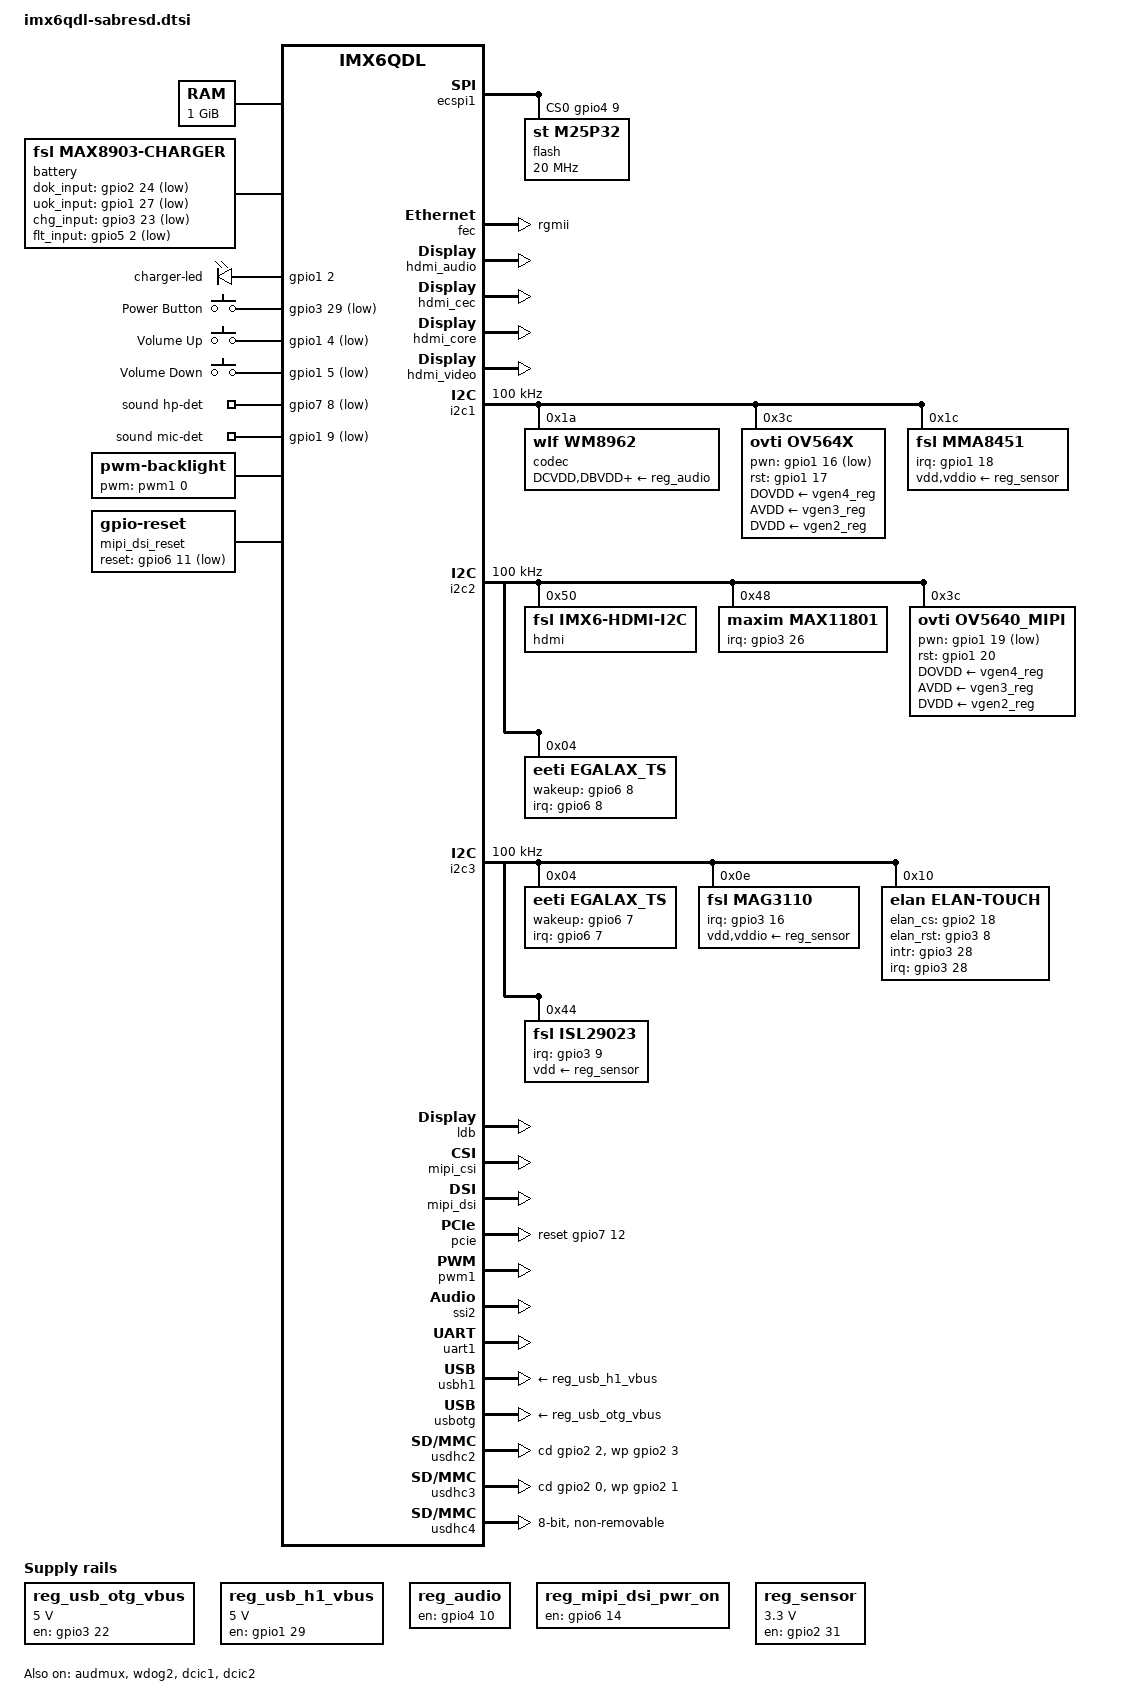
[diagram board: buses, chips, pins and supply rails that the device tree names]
/*
 * Copyright 2012 Freescale Semiconductor, Inc.
 * Copyright 2011 Linaro Ltd.
 *
 * The code contained herein is licensed under the GNU General Public
 * License. You may obtain a copy of the GNU General Public License
 * Version 2 or later at the following locations:
 *
 * http://www.opensource.org/licenses/gpl-license.html
 * http://www.gnu.org/copyleft/gpl.html
 */

/ {
	aliases {
		mxcfb0 = &mxcfb1;
		mxcfb1 = &mxcfb2;
		mxcfb2 = &mxcfb3;
		mxcfb3 = &mxcfb4;
	};

	memory {
		reg = <0x10000000 0x40000000>;
	};

	battery: max8903@0 {
		compatible = "fsl,max8903-charger";
		pinctrl-names = "default";
		dok_input = <&gpio2 24 1>;
		uok_input = <&gpio1 27 1>;
		chg_input = <&gpio3 23 1>;
		flt_input = <&gpio5 2 1>;
		fsl,dcm_always_high;
		fsl,dc_valid;
		fsl,usb_valid;
		status = "okay";
	};

	hannstar_cabc {
		compatible = "hannstar,cabc";

		lvds0 {
			gpios = <&gpio6 15 GPIO_ACTIVE_HIGH>;
		};

		lvds1 {
			gpios = <&gpio6 16 GPIO_ACTIVE_HIGH>;
		};
	};

	leds {
		compatible = "gpio-leds";

		charger-led {
			gpios = <&gpio1 2 0>;
			linux,default-trigger = "max8903-charger-charging";
			retain-state-suspended;
		};
	};

	regulators {
		compatible = "simple-bus";

		reg_usb_otg_vbus: usb_otg_vbus {
			compatible = "regulator-fixed";
			regulator-name = "usb_otg_vbus";
			regulator-min-microvolt = <5000000>;
			regulator-max-microvolt = <5000000>;
			gpio = <&gpio3 22 0>;
			enable-active-high;
		};

		reg_usb_h1_vbus: usb_h1_vbus {
			compatible = "regulator-fixed";
			regulator-name = "usb_h1_vbus";
			regulator-min-microvolt = <5000000>;
			regulator-max-microvolt = <5000000>;
			gpio = <&gpio1 29 0>;
			enable-active-high;
		};

		reg_audio: wm8962_supply {
			compatible = "regulator-fixed";
			regulator-name = "wm8962-supply";
			gpio = <&gpio4 10 0>;
			enable-active-high;
		};

		reg_mipi_dsi_pwr_on: mipi_dsi_pwr_on {
			compatible = "regulator-fixed";
			regulator-name = "mipi_dsi_pwr_on";
			gpio = <&gpio6 14 0>;
			enable-active-high;
		};

		reg_sensor: sensor_supply {
			compatible = "regulator-fixed";
			regulator-name = "sensor-supply";
			regulator-min-microvolt = <3300000>;
			regulator-max-microvolt = <3300000>;
			gpio = <&gpio2 31 0>;
			startup-delay-us = <500>;
			enable-active-high;
		};
	};

	gpio-keys {
		compatible = "gpio-keys";
		power {
			label = "Power Button";
			gpios = <&gpio3 29 1>;
			linux,code = <116>; /* KEY_POWER */
			gpio-key,wakeup;
		};

		volume-up {
			label = "Volume Up";
			gpios = <&gpio1 4 1>;
			linux,code = <115>; /* KEY_VOLUMEUP */
		};

		volume-down {
			label = "Volume Down";
			gpios = <&gpio1 5 1>;
			linux,code = <114>; /* KEY_VOLUMEDOWN */
		};
	};

	sound {
		compatible = "fsl,imx6q-sabresd-wm8962",
			   "fsl,imx-audio-wm8962";
		model = "wm8962-audio";
		cpu-dai = <&ssi2>;
		audio-codec = <&codec>;
		audio-routing =
			"Headphone Jack", "HPOUTL",
			"Headphone Jack", "HPOUTR",
			"Ext Spk", "SPKOUTL",
			"Ext Spk", "SPKOUTR",
			"MICBIAS", "AMIC",
			"IN3R", "MICBIAS",
			"DMIC", "MICBIAS",
			"DMICDAT", "DMIC";
		mux-int-port = <2>;
		mux-ext-port = <3>;
		hp-det-gpios = <&gpio7 8 1>;
		mic-det-gpios = <&gpio1 9 1>;
	};

	sound-hdmi {
		compatible = "fsl,imx6q-audio-hdmi",
			     "fsl,imx-audio-hdmi";
		model = "imx-audio-hdmi";
		hdmi-controller = <&hdmi_audio>;
	};

	mxcfb1: fb@0 {
		compatible = "fsl,mxc_sdc_fb";
		disp_dev = "ldb";
		interface_pix_fmt = "RGB666";
		default_bpp = <16>;
		int_clk = <0>;
		late_init = <0>;
		status = "disabled";
	};

	mxcfb2: fb@1 {
		compatible = "fsl,mxc_sdc_fb";
		disp_dev = "hdmi";
		interface_pix_fmt = "RGB24";
		mode_str ="1920x1080M@60";
		default_bpp = <24>;
		int_clk = <0>;
		late_init = <0>;
		status = "disabled";
	};

	mxcfb3: fb@2 {
		compatible = "fsl,mxc_sdc_fb";
		disp_dev = "lcd";
		interface_pix_fmt = "RGB565";
		mode_str ="CLAA-WVGA";
		default_bpp = <16>;
		int_clk = <0>;
		late_init = <0>;
		status = "disabled";
	};

	mxcfb4: fb@3 {
		compatible = "fsl,mxc_sdc_fb";
		disp_dev = "ldb";
		interface_pix_fmt = "RGB666";
		default_bpp = <16>;
		int_clk = <0>;
		late_init = <0>;
		status = "disabled";
	};

	lcd@0 {
		compatible = "fsl,lcd";
		ipu_id = <0>;
		disp_id = <0>;
		default_ifmt = "RGB565";
		pinctrl-names = "default";
		pinctrl-0 = <&pinctrl_ipu1_1>;
		status = "okay";
	};

	backlight {
		compatible = "pwm-backlight";
		pwms = <&pwm1 0 5000000>;
		brightness-levels = <0 4 8 16 32 64 128 255>;
		default-brightness-level = <7>;
	};

	v4l2_cap_0 {
		compatible = "fsl,imx6q-v4l2-capture";
		ipu_id = <0>;
		csi_id = <0>;
		mclk_source = <0>;
		status = "okay";
	};

	v4l2_cap_1 {
		compatible = "fsl,imx6q-v4l2-capture";
		ipu_id = <0>;
		csi_id = <1>;
		mclk_source = <0>;
		status = "okay";
	};

	v4l2_out {
		compatible = "fsl,mxc_v4l2_output";
		status = "okay";
	};

	mipi_dsi_reset: mipi-dsi-reset {
		compatible = "gpio-reset";
		reset-gpios = <&gpio6 11 GPIO_ACTIVE_LOW>;
		reset-delay-us = <50>;
		#reset-cells = <0>;
	};
};

&audmux {
	pinctrl-names = "default";
	pinctrl-0 = <&pinctrl_audmux_2>;
	status = "okay";
};

&cpu0 {
	arm-supply = <&sw1a_reg>;
	soc-supply = <&sw1c_reg>;
	pu-supply = <&pu_dummy>; /* use pu_dummy if VDDSOC share with VDDPU */
};

&ecspi1 {
	fsl,spi-num-chipselects = <1>;
	cs-gpios = <&gpio4 9 0>;
	pinctrl-names = "default";
	pinctrl-0 = <&pinctrl_ecspi1_2>;
	status = "okay";

	flash: m25p80@0 {
		#address-cells = <1>;
		#size-cells = <1>;
		compatible = "st,m25p32";
		spi-max-frequency = <20000000>;
		reg = <0>;
	};
};

&fec {
	pinctrl-names = "default";
	pinctrl-0 = <&pinctrl_enet_1>;
	phy-mode = "rgmii";
	status = "okay";
};

&gpc {
	fsl,cpu_pupscr_sw2iso = <0xf>;
	fsl,cpu_pupscr_sw = <0xf>;
	fsl,cpu_pdnscr_iso2sw = <0x1>;
	fsl,cpu_pdnscr_iso = <0x1>;
	fsl,ldo-bypass = <1>; /* use ldo-bypass, u-boot will check it and configure */
	fsl,wdog-reset = <2>; /* watchdog select of reset source */
	pu-supply = <&pu_dummy>; /* ldo-bypass:use pu_dummy if VDDSOC share with VDDPU */
};

&wdog1 {
	status = "disabled";
};

&wdog2 {
	status = "okay";
};

&gpu {
	pu-supply = <&pu_dummy>; /* ldo-bypass:use pu_dummy if VDDSOC share with VDDPU */
};

&hdmi_audio {
	status = "okay";
};

&hdmi_cec {
	pinctrl-names = "default";
	pinctrl-0 = <&pinctrl_hdmi_cec_2>;
	status = "okay";
};

&hdmi_core {
	ipu_id = <0>;
	disp_id = <0>;
	status = "okay";
};

&hdmi_video {
	fsl,phy_reg_vlev = <0x0294>;
	fsl,phy_reg_cksymtx = <0x800d>;
	status = "okay";
};

&i2c1 {
	clock-frequency = <100000>;
	pinctrl-names = "default";
	pinctrl-0 = <&pinctrl_i2c1_2>;
	status = "okay";

	codec: wm8962@1a {
		compatible = "wlf,wm8962";
		reg = <0x1a>;
		clocks = <&clks 201>;
		DCVDD-supply = <&reg_audio>;
		DBVDD-supply = <&reg_audio>;
		AVDD-supply = <&reg_audio>;
		CPVDD-supply = <&reg_audio>;
		MICVDD-supply = <&reg_audio>;
		PLLVDD-supply = <&reg_audio>;
		SPKVDD1-supply = <&reg_audio>;
		SPKVDD2-supply = <&reg_audio>;
		amic-mono;
		gpio-cfg = <
			0x0000 /* 0:Default */
			0x0000 /* 1:Default */
			0x0013 /* 2:FN_DMICCLK */
			0x0000 /* 3:Default */
			0x8014 /* 4:FN_DMICCDAT */
			0x0000 /* 5:Default */
		>;
       };

	ov564x: ov564x@3c {
		compatible = "ovti,ov564x";
		reg = <0x3c>;
		pinctrl-names = "default";
		pinctrl-0 = <&pinctrl_ipu1_2>;
		clocks = <&clks 201>;
		clock-names = "csi_mclk";
		DOVDD-supply = <&vgen4_reg>; /* 1.8v */
		AVDD-supply = <&vgen3_reg>;  /* 2.8v, on rev C board is VGEN3,
						on rev B board is VGEN5 */
		DVDD-supply = <&vgen2_reg>;  /* 1.5v*/
		pwn-gpios = <&gpio1 16 1>;   /* active low: SD1_DAT0 */
		rst-gpios = <&gpio1 17 0>;   /* active high: SD1_DAT1 */
		csi_id = <0>;
		mclk = <24000000>;
		mclk_source = <0>;
	};

	mma8451@1c {
		compatible = "fsl,mma8451";
		reg = <0x1c>;
		position = <0>;
		vdd-supply = <&reg_sensor>;
		vddio-supply = <&reg_sensor>;
		interrupt-parent = <&gpio1>;
		interrupts = <18 8>;
		interrupt-route = <1>;
	};
};

&i2c2 {
	clock-frequency = <100000>;
	pinctrl-names = "default";
	pinctrl-0 = <&pinctrl_i2c2_2>;
	status = "okay";

	hdmi: edid@50 {
		compatible = "fsl,imx6-hdmi-i2c";
		reg = <0x50>;
	};

	max11801@48 {
		compatible = "maxim,max11801";
		reg = <0x48>;
		interrupt-parent = <&gpio3>;
		interrupts = <26 2>;
		work-mode = <1>;/*DCM mode*/
	};

	ov5640_mipi: ov5640_mipi@3c { /* i2c2 driver */
		compatible = "ovti,ov5640_mipi";
		reg = <0x3c>;
		clocks = <&clks 201>;
		clock-names = "csi_mclk";
		DOVDD-supply = <&vgen4_reg>; /* 1.8v */
		AVDD-supply = <&vgen3_reg>;  /* 2.8v, rev C board is VGEN3
						rev B board is VGEN5 */
		DVDD-supply = <&vgen2_reg>;  /* 1.5v*/
		pwn-gpios = <&gpio1 19 1>;   /* active low: SD1_CLK */
		rst-gpios = <&gpio1 20 0>;   /* active high: SD1_DAT2 */
		csi_id = <1>;
		mclk = <24000000>;
		mclk_source = <0>;
	};

        egalax_ts@04 {
                compatible = "eeti,egalax_ts";
                reg = <0x04>;
                interrupt-parent = <&gpio6>;
                interrupts = <8 2>;
                wakeup-gpios = <&gpio6 8 0>;
        };
};

&i2c3 {
        clock-frequency = <100000>;
        pinctrl-names = "default";
        pinctrl-0 = <&pinctrl_i2c3_2>;
        status = "okay";

        egalax_ts@04 {
                compatible = "eeti,egalax_ts";
                reg = <0x04>;
                interrupt-parent = <&gpio6>;
                interrupts = <7 2>;
                wakeup-gpios = <&gpio6 7 0>;
        };

	mag3110@0e {
		compatible = "fsl,mag3110";
		reg = <0x0e>;
		position = <2>;
		vdd-supply = <&reg_sensor>;
		vddio-supply = <&reg_sensor>;
		interrupt-parent = <&gpio3>;
		interrupts = <16 1>;
	};

	elan@10 {
		compatible = "elan,elan-touch";
		reg = <0x10>;
		interrupt-parent = <&gpio3>;
		interrupts = <28 3>;
		gpio_elan_cs = <&gpio2 18 0>;
		gpio_elan_rst = <&gpio3 8 0>;
		gpio_intr = <&gpio3 28 0>;
		status = "okay";
	};

	isl29023@44 {
		compatible = "fsl,isl29023";
		reg = <0x44>;
		rext = <499>;
		vdd-supply = <&reg_sensor>;
		interrupt-parent = <&gpio3>;
		interrupts = <9 2>;
	};
};

&iomuxc {
	pinctrl-names = "default";
	pinctrl-0 = <&pinctrl_hog_1>;

	hog {
		pinctrl_hog_1: hoggrp-1 {
			fsl,pins = <
				MX6QDL_PAD_GPIO_4__GPIO1_IO04   0x80000000
				MX6QDL_PAD_GPIO_5__GPIO1_IO05   0x80000000
				MX6QDL_PAD_NANDF_D0__GPIO2_IO00 0x80000000
				MX6QDL_PAD_NANDF_D1__GPIO2_IO01 0x80000000
				MX6QDL_PAD_NANDF_D2__GPIO2_IO02 0x80000000
				MX6QDL_PAD_NANDF_D3__GPIO2_IO03 0x80000000
				MX6QDL_PAD_NANDF_ALE__GPIO6_IO08 0x80000000
				MX6QDL_PAD_NANDF_CLE__GPIO6_IO07 0x80000000
				MX6QDL_PAD_GPIO_0__CCM_CLKO1    0x130b0
				MX6QDL_PAD_NANDF_CS2__GPIO6_IO15 0x80000000
				MX6QDL_PAD_NANDF_CS3__GPIO6_IO16 0x80000000
				MX6QDL_PAD_EIM_D26__GPIO3_IO26 0x80000000
				MX6QDL_PAD_EIM_CS1__GPIO2_IO24 0x80000000
				MX6QDL_PAD_ENET_RXD0__GPIO1_IO27 0x80000000
				MX6QDL_PAD_EIM_A25__GPIO5_IO02 0x80000000
				MX6QDL_PAD_EIM_D23__GPIO3_IO23 0x80000000
				MX6QDL_PAD_ENET_TXD1__GPIO1_IO29 0x80000000
				MX6QDL_PAD_EIM_D22__GPIO3_IO22  0x80000000
				MX6QDL_PAD_NANDF_CS0__GPIO6_IO11 0x80000000
				MX6QDL_PAD_NANDF_CS1__GPIO6_IO14 0x80000000
				MX6QDL_PAD_EIM_EB3__GPIO2_IO31 0x80000000
				MX6QDL_PAD_EIM_D16__GPIO3_IO16 0x80000000
				MX6QDL_PAD_EIM_DA9__GPIO3_IO09 0x80000000
				MX6QDL_PAD_GPIO_4__GPIO1_IO04 0x80000000
				MX6QDL_PAD_GPIO_5__GPIO1_IO05 0x80000000
				MX6QDL_PAD_EIM_D29__GPIO3_IO29 0x80000000
				MX6QDL_PAD_SD3_RST__GPIO7_IO08 0x80000000
				MX6QDL_PAD_GPIO_9__GPIO1_IO09 0x80000000
				MX6QDL_PAD_GPIO_1__WDOG2_B 0x80000000
				MX6QDL_PAD_GPIO_2__GPIO1_IO02 0x80000000
				MX6QDL_PAD_SD1_CMD__GPIO1_IO18 0x80000000
			>;
		};
	};
};

&ldb {
	status = "okay";

	lvds-channel@0 {
		fsl,data-mapping = "spwg";
		fsl,data-width = <18>;
		status = "okay";

		display-timings {
			native-mode = <&timing0>;
			timing0: hsd100pxn1 {
				clock-frequency = <65000000>;
				hactive = <1024>;
				vactive = <768>;
				hback-porch = <220>;
				hfront-porch = <40>;
				vback-porch = <21>;
				vfront-porch = <7>;
				hsync-len = <60>;
				vsync-len = <10>;
			};
		};
	};

	lvds-channel@1 {
		fsl,data-mapping = "spwg";
		fsl,data-width = <18>;
		primary;
		status = "okay";

		display-timings {
			native-mode = <&timing1>;
			timing1: hsd100pxn1 {
				clock-frequency = <65000000>;
				hactive = <1024>;
				vactive = <768>;
				hback-porch = <220>;
				hfront-porch = <40>;
				vback-porch = <21>;
				vfront-porch = <7>;
				hsync-len = <60>;
				vsync-len = <10>;
			};
		};
	};
};

&mipi_csi {
	status = "okay";
	ipu_id = <0>;
	csi_id = <1>;
	v_channel = <0>;
	lanes = <2>;
};

&mipi_dsi {
	dev_id = <0>;
	disp_id = <1>;
	lcd_panel = "TRULY-WVGA";
	disp-power-on-supply = <&reg_mipi_dsi_pwr_on>;
	resets = <&mipi_dsi_reset>;
	status = "okay";
};

&dcic1 {
	dcic_id = <0>;
	dcic_mux = "dcic-hdmi";
	status = "okay";
};

&dcic2 {
	dcic_id = <1>;
	dcic_mux = "dcic-lvds1";
	status = "okay";
};

&pcie {
	power-on-gpio = <&gpio3 19 0>;
	reset-gpio = <&gpio7 12 0>;
	status = "okay";
};


&pwm1 {
	pinctrl-names = "default";
	pinctrl-0 = <&pinctrl_pwm1_1>;
	status = "okay";
};

&ssi2 {
	fsl,mode = "i2s-slave";
	status = "okay";
};

&uart1 {
	pinctrl-names = "default";
	pinctrl-0 = <&pinctrl_uart1_1>;
	status = "okay";
};

&usbh1 {
	vbus-supply = <&reg_usb_h1_vbus>;
	status = "okay";
};

&usbotg {
	vbus-supply = <&reg_usb_otg_vbus>;
	pinctrl-names = "default";
	pinctrl-0 = <&pinctrl_usbotg_2>;
	disable-over-current;
	status = "okay";
};

&usdhc2 {
	pinctrl-names = "default";
	pinctrl-0 = <&pinctrl_usdhc2_1>;
	cd-gpios = <&gpio2 2 0>;
	wp-gpios = <&gpio2 3 0>;
	no-1-8-v;
	keep-power-in-suspend;
	enable-sdio-wakeup;
	status = "okay";
};

&usdhc3 {
	pinctrl-names = "default";
	pinctrl-0 = <&pinctrl_usdhc3_1>;
	cd-gpios = <&gpio2 0 0>;
	wp-gpios = <&gpio2 1 0>;
	no-1-8-v;
	keep-power-in-suspend;
	enable-sdio-wakeup;
	status = "okay";
};

&usdhc4 {
        pinctrl-names = "default";
        pinctrl-0 = <&pinctrl_usdhc4_1>;
        bus-width = <8>;
        non-removable;
        no-1-8-v;
	keep-power-in-suspend;
        status = "okay";
};

&vpu {
	pu-supply = <&pu_dummy>; /* ldo-bypass:use pu_dummy if VDDSOC share with VDDPU */
};
